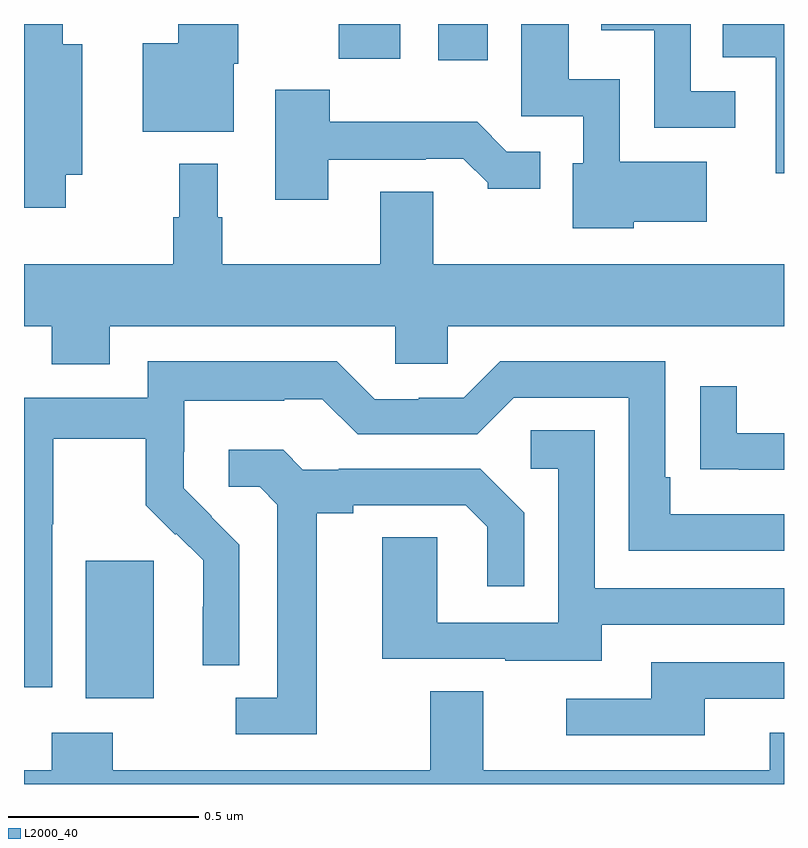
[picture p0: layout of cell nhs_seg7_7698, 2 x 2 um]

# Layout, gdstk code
import gdstk
lib = gdstk.Library(unit=1e-6, precision=1e-09)
def R(c, l, rs):  # rectangles x0, y0, x1, y1
    for r in rs: c.add(gdstk.rectangle(r[:2], r[2:], *l))
def P(c, l, *ps):  # polygons
    for p in ps: c.add(gdstk.Polygon(p, *l))
L2000_40 = (2000, 40)

nhs_seg7_7698 = lib.new_cell('nhs_seg7_7698')
R(nhs_seg7_7698, L2000_40, [(214.163,1078.226,214.342,1078.587), (215.09,1079.904,215.221,1080), (214.828,1079.909,214.99,1080)])
P(nhs_seg7_7698, L2000_40, [(215.872,1079.823),(215.754,1079.823),(215.754,1080),(215.519,1080),(215.519,1079.984),(215.658,1079.984),(215.658,1079.727),(215.872,1079.727)],
  [(214.11,1079.603),(214.153,1079.603),(214.153,1079.947),(214.102,1079.947),(214.102,1080),(214,1080),(214,1079.517),(214.11,1079.517)],
  [(215.604,1079.48),(215.797,1079.48),(215.797,1079.638),(215.568,1079.638),(215.568,1079.854),(215.434,1079.854),(215.434,1080),(215.309,1080),(215.309,1079.757),(215.472,1079.757),(215.472,1079.634),(215.444,1079.634),(215.444,1079.462),(215.604,1079.462)],
  [(214.552,1079.895),(214.564,1079.895),(214.564,1080),(214.406,1080),(214.406,1079.95),(214.313,1079.95),(214.313,1079.717),(214.552,1079.717)],
  [(216,1080),(215.839,1080),(215.839,1079.912),(215.978,1079.912),(215.978,1079.607),(216,1079.607)],
  [(214.801,1079.643),(215.057,1079.643),(215.057,1079.646),(215.156,1079.646),(215.22,1079.582),(215.22,1079.567),(215.359,1079.567),(215.359,1079.664),(215.271,1079.664),(215.193,1079.743),(214.804,1079.743),(214.804,1079.827),(214.661,1079.827),(214.661,1079.538),(214.801,1079.538)],
  [(214.408,1079.632),(214.408,1079.492),(214.393,1079.492),(214.393,1079.368),(214,1079.368),(214,1079.204),(214.073,1079.204),(214.073,1079.105),(214.225,1079.105),(214.225,1079.204),(214.977,1079.204),(214.977,1079.106),(215.115,1079.106),(215.115,1079.204),(216,1079.204),(216,1079.368),(215.077,1079.368),(215.077,1079.558),(214.937,1079.558),(214.937,1079.368),(214.522,1079.368),(214.522,1079.492),(214.51,1079.492),(214.51,1079.632)],
  [(214.074,1078.684),(214.077,1078.684),(214.077,1078.908),(214.321,1078.908),(214.321,1078.733),(214.398,1078.656),(214.401,1078.659),(214.472,1078.589),(214.472,1078.466),(214.47,1078.466),(214.47,1078.312),(214.566,1078.312),(214.566,1078.63),(214.493,1078.703),(214.494,1078.704),(214.42,1078.778),(214.42,1078.875),(214.422,1078.875),(214.422,1079.009),(214.685,1079.009),(214.685,1079.013),(214.785,1079.013),(214.878,1078.92),(215.193,1078.92),(215.289,1079.016),(215.592,1079.016),(215.592,1078.614),(216,1078.614),(216,1078.71),(215.701,1078.71),(215.701,1078.807),(215.688,1078.807),(215.688,1079.112),(215.253,1079.112),(215.157,1079.016),(215.039,1079.016),(215.039,1079.013),(214.923,1079.013),(214.823,1079.113),(214.326,1079.113),(214.326,1079.016),(214,1079.016),(214,1078.255),(214.074,1078.255)],
  [(216,1078.923),(215.875,1078.923),(215.875,1079.047),(215.779,1079.047),(215.779,1078.828),(215.881,1078.828),(215.881,1078.827),(216,1078.827)],
  [(215.521,1078.419),(216,1078.419),(216,1078.515),(215.502,1078.515),(215.502,1078.931),(215.334,1078.931),(215.334,1078.83),(215.406,1078.83),(215.406,1078.425),(215.088,1078.425),(215.088,1078.649),(214.943,1078.649),(214.943,1078.329),(215.267,1078.329),(215.267,1078.325),(215.521,1078.325)],
  [(214.771,1078.712),(214.867,1078.712),(214.867,1078.734),(215.162,1078.734),(215.219,1078.677),(215.219,1078.521),(215.316,1078.521),(215.316,1078.714),(215.2,1078.83),(214.828,1078.83),(214.828,1078.827),(214.734,1078.827),(214.682,1078.879),(214.539,1078.879),(214.539,1078.782),(214.62,1078.782),(214.667,1078.735),(214.667,1078.227),(214.557,1078.227),(214.557,1078.131),(214.771,1078.131)],
  [(215.791,1078.224),(216,1078.224),(216,1078.32),(215.651,1078.32),(215.651,1078.224),(215.427,1078.224),(215.427,1078.128),(215.791,1078.128)],
  [(216,1078.135),(215.963,1078.135),(215.963,1078.036),(215.209,1078.036),(215.209,1078.244),(215.069,1078.244),(215.069,1078.036),(214.233,1078.036),(214.233,1078.135),(214.073,1078.135),(214.073,1078.036),(214,1078.036),(214,1078),(216,1078)])

lib.write_gds('nhs_seg7_7698.gds')
